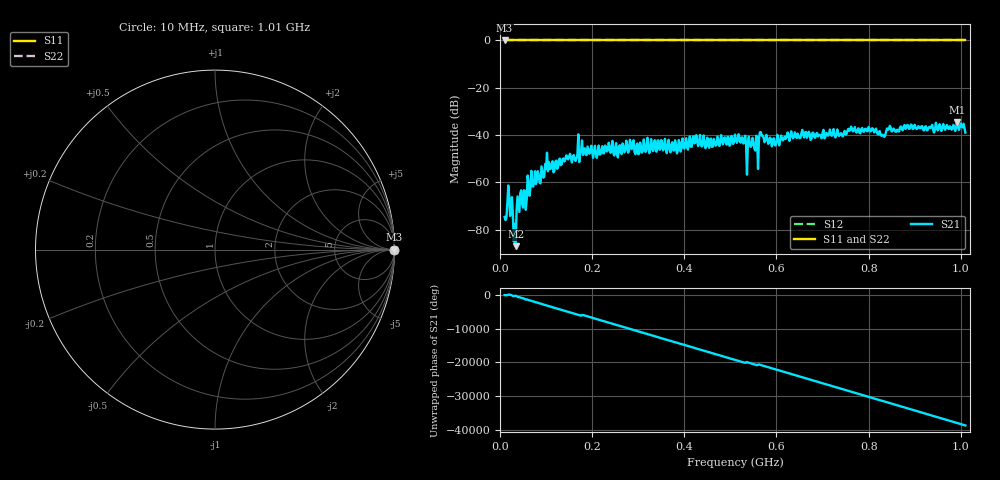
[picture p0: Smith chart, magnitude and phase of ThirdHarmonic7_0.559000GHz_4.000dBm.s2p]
! 8/17/2025 5:05:42 PM
! C:\ANRITSUVNA\TEMP\TEMP.S2P
! CHANNEL.1
! TR.MEASUREMENT
! RAW.DATA
! RF.CORRECTION.OFF
! AVERAGING.OFF
! IF.BANDWIDTH: 5KHZ
! SWEEPTYPE:  FREQ.SWEEP(Linear)
! Reference Plane Port Info
! PORT:  PORT1  PORT2
! DISTANCE:  0  m  0  m
! TIME:  0  s  0  s
! PHASE.OFFSET:  0  deg.  0  deg.
! LOSS:  0  dB  0  dB
! REF.LOSS:  0  dB  0  dB
! REF.FREQ:  0  Hz  0  Hz
! Power Info
! POWER:  -20  dBm  -20  dBm
! EFF.POWER:  -20  dBm  -20  dBm
! SOURCE.ATTEN:  0  dB  0  dB
! TEST.ATTEN:  0  dB  0  dB
# GHZ S RI R 50.0
! FREQ.GHZ  S11RE  S11IM  S21RE  S21IM  S12RE  S12IM  S22RE  S22IM
!; PortSelection: Port_12
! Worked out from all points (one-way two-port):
!   501 points, 10 MHz to 1.01 GHz, reference 50 ohm
!   highest |S21| = -34.45 dB at 992 MHz (marker M1); lowest = -86.9 dB at 34 MHz (marker M2)
!   lowest |S11| = 0.0 dB at 10 MHz (marker M3)
!   |S11| at or under -10 dB: nowhere
!   |S22| runs from 0.0 to 0.0 dB; largest |S21 - S12| = 1
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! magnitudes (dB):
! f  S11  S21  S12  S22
! 10 MHz  0.0  -74.6  0.0  0.0
! 22 MHz  0.0  -74.2  0.0  0.0
! 30 MHz  0.0  -85.0  0.0  0.0
! 34 MHz  0.0  -86.9  0.0  0.0
! 42 MHz  0.0  -72.5  0.0  0.0
! 54 MHz  0.0  -63.6  0.0  0.0
! 64 MHz  0.0  -65.6  0.0  0.0
! 90 MHz  0.0  -53.2  0.0  0.0
! 102 MHz  0.0  -47.4  0.0  0.0
! 178 MHz  0.0  -42.3  0.0  0.0
! 344 MHz  0.0  -42.3  0.0  0.0
! 510 MHz  0.0  -39.8  0.0  0.0
! 540 MHz  0.0  -40.7  0.0  0.0
! 556 MHz  0.0  -40.2  0.0  0.0
! 568 MHz  0.0  -40.2  0.0  0.0
! 594 MHz  0.0  -41.3  0.0  0.0
! 678 MHz  0.0  -39.0  0.0  0.0
! 766 MHz  0.0  -38.4  0.0  0.0
! 832 MHz  0.0  -40.1  0.0  0.0
! 844 MHz  0.0  -37.5  0.0  0.0
! 992 MHz  0.0  -34.4  0.0  0.0
! 1.01 GHz  0.0  -38.9  0.0  0.0
